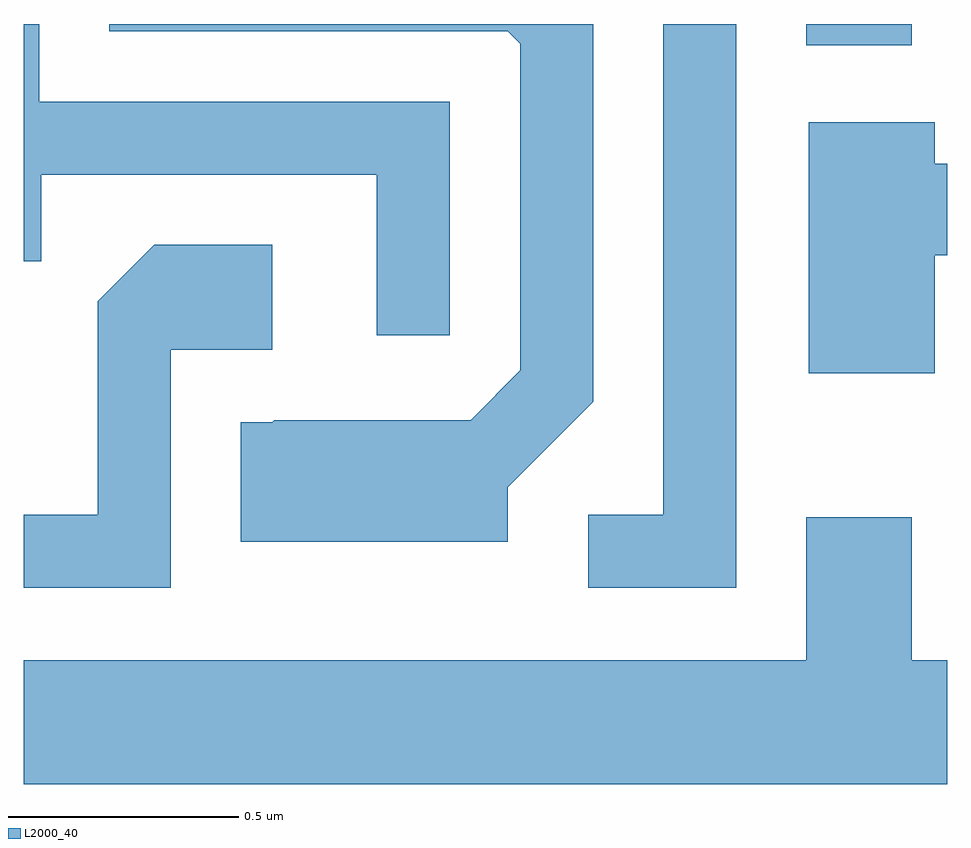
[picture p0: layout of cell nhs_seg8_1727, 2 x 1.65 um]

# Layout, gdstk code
import gdstk
lib = gdstk.Library(unit=1e-6, precision=1e-09)
def R(c, l, rs):  # rectangles x0, y0, x1, y1
    for r in rs: c.add(gdstk.rectangle(r[:2], r[2:], *l))
def P(c, l, *ps):  # polygons
    for p in ps: c.add(gdstk.Polygon(p, *l))
L2000_40 = (2000, 40)

nhs_seg8_1727 = lib.new_cell('nhs_seg8_1727')
R(nhs_seg8_1727, L2000_40, [(199.306,1891.296,199.534,1891.342)])
P(nhs_seg8_1727, L2000_40, [(198.534,1891.174),(197.644,1891.174),(197.644,1891.342),(197.611,1891.342),(197.611,1890.828),(197.649,1890.828),(197.649,1891.016),(198.376,1891.016),(198.376,1890.668),(198.534,1890.668)],
  [(198.659,1890.339),(198.844,1890.524),(198.844,1891.342),(197.796,1891.342),(197.796,1891.326),(198.659,1891.326),(198.686,1891.299),(198.686,1890.592),(198.579,1890.484),(198.154,1890.484),(198.149,1890.479),(198.081,1890.479),(198.081,1890.221),(198.659,1890.221)],
  [(199.154,1891.342),(198.996,1891.342),(198.996,1890.279),(198.833,1890.279),(198.833,1890.121),(199.154,1890.121)],
  [(199.584,1890.841),(199.611,1890.841),(199.611,1891.039),(199.584,1891.039),(199.584,1891.129),(199.311,1891.129),(199.311,1890.586),(199.584,1890.586)],
  [(197.929,1890.636),(198.149,1890.636),(198.149,1890.864),(197.894,1890.864),(197.771,1890.742),(197.771,1890.279),(197.611,1890.279),(197.611,1890.121),(197.929,1890.121)],
  [(199.611,1889.964),(199.534,1889.964),(199.534,1890.274),(199.306,1890.274),(199.306,1889.964),(197.611,1889.964),(197.611,1889.696),(199.611,1889.696)])

lib.write_gds('nhs_seg8_1727.gds')
